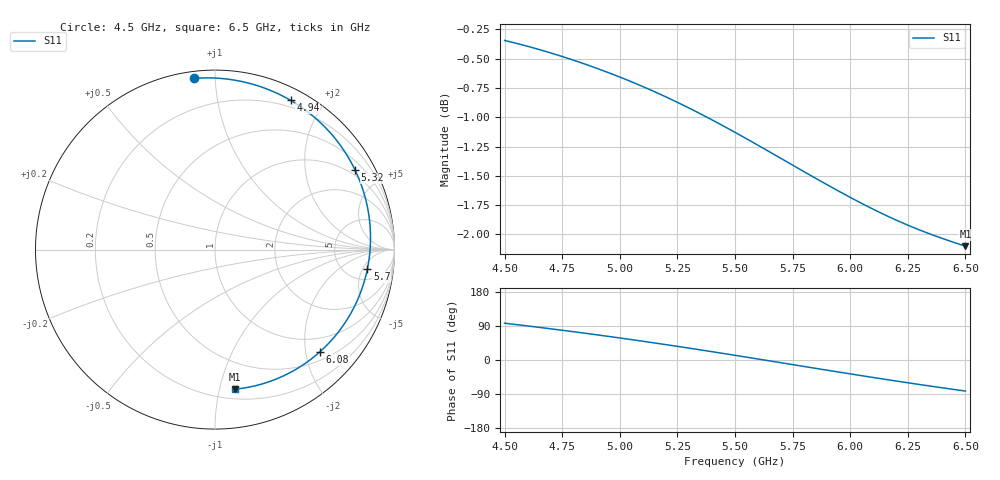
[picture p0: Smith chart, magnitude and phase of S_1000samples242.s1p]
! TOUCHSTONE file generated by CST MICROWAVE STUDIO
! Date and time: Thu Oct 27 12:05:08 2022
! Project name: L.cst
! Parameters = {Di=1.27; Epsilon_r=1.56; InnerDiameter=1.27; Length=2; Lf=10; Lg=60; OuterConductorThickness=0.2921; OuterDiameter=3.6; Wf=3; Wp=41.2; de=1.5; df=6.8; g=0.8; gx=3.39193; gy=4.78534; h=2.34; hf=1.524; px=10.9956; py=9.88669; w=9.7; wx=7.60366; wy=5.10135}
! Header version: 2018
! Port assignment regex: !\s*Touchstone port\s*([0-9]+)\s*=\s*(CST MWS port|CST DS port)\s*([0-9]+|Zmin|Zmax)\s*\(\"(.*)\"\)(\s*mode\s*([0-9]+))?.*
! Touchstone port assignment:
! Touchstone port 1 = CST MWS port 1 ("")
# GHz S DB R 50
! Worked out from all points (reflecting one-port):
!   101 points, 4.5 GHz to 6.5 GHz, reference 50 ohm
!   lowest |S11| = -2.1 dB at 6.5 GHz (marker M1), VSWR 8.31, Z = 13.7 - j55.7 ohm
!   phase of S11 starts at 97 deg and turns -179 deg over the sweep
!   S11 on the Smith chart (normalised r, x): 4.5 GHz: 0.04, +0.88; 4.94 GHz: 0.13, +1.62; 5.32 GHz: 0.80, +3.63; 5.7 GHz: 7.78, -6.27; 6.08 GHz: 0.67, -2.29; 6.5 GHz: 0.27, -1.11
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4.5  -0.34 97.1
4.58  -0.38 91.3
4.64  -0.42 86.9
4.7  -0.45 82.3
4.76  -0.49 77.7
4.86  -0.55 69.7
4.94  -0.61 63.2
5  -0.66 58.1
5.06  -0.70 53.0
5.12  -0.75 47.7
5.2  -0.83 40.6
5.26  -0.88 35.1
5.32  -0.94 29.5
5.42  -1.04 20.0
5.5  -1.13 12.4
5.6  -1.24 2.6
5.7  -1.35 -7.2
5.76  -1.42 -13.1
5.82  -1.49 -19.1
5.88  -1.55 -24.9
6  -1.68 -36.6
6.08  -1.77 -44.3
6.18  -1.86 -53.6
6.26  -1.93 -61.0
6.32  -1.98 -66.4
6.38  -2.02 -71.7
6.44  -2.06 -76.9
6.5  -2.10 -82.0
